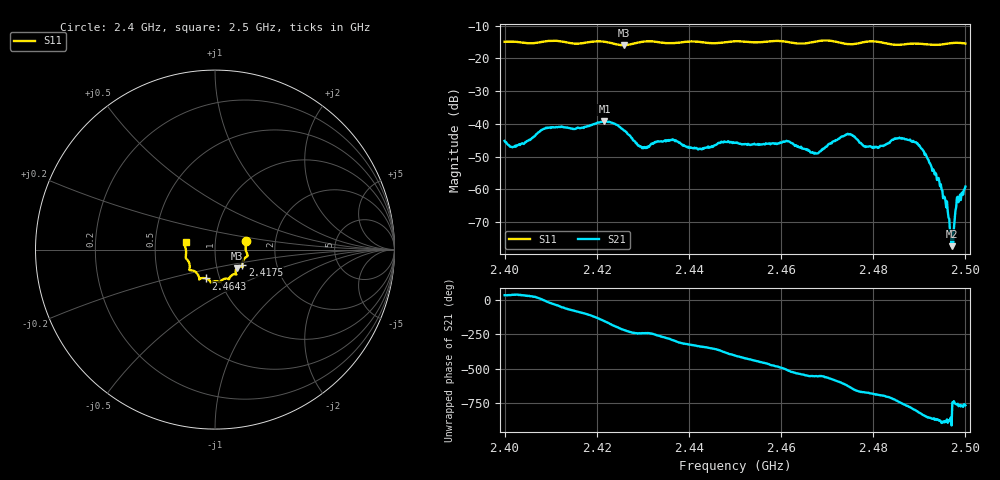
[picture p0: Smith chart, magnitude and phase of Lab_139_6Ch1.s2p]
# Hz S RI R
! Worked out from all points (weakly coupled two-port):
!   601 points, 2.4 GHz to 2.5 GHz, reference 50 ohm
!   highest |S21| = -39.29 dB at 2.4217 GHz (marker M1); lowest = -77.4 dB at 2.497 GHz (marker M2)
!   lowest |S11| = -16.0 dB at 2.4258 GHz (marker M3), VSWR 1.38, Z = 62.3 - j13.2 ohm
!   |S11| at or under -10 dB: start of sweep to end of sweep
!   S12 and S22 are empty: the file has one direction only
!   S11 on the Smith chart (normalised r, x): 2.4 GHz: 1.41, +0.14; 2.4175 GHz: 1.34, -0.23; 2.4643 GHz: 0.86, -0.29; 2.5 GHz: 0.72, +0.06
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2.4e9  0.173 0.0487  0.00464 0.00292  0 0  0 0
2.402e9  0.1756 0.0408  0.00366 0.00255  0 0  0 0
2.408833e9  0.1805 -0.0279  0.00844 -0.00135  0 0  0 0
2.416667e9  0.1532 -0.0743  -0.000831 -0.00868  0 0  0 0
2.4175e9  0.1522 -0.0839  -0.00177 -0.00886  0 0  0 0
2.421667e9  0.1523 -0.0961  -0.00994 -0.00437  0 0  0 0
2.425833e9  0.1214 -0.1032  -0.00626 0.00496  0 0  0 0
2.429667e9  0.117 -0.1349  -0.00194 0.00401  0 0  0 0
2.433333e9  0.1128 -0.1374  -0.000794 0.00536  0 0  0 0
2.442333e9  0.073 -0.1637  0.00386 0.00143  0 0  0 0
2.45e9  0.0289 -0.1809  0.00354 -0.00369  0 0  0 0
2.464333e9  -0.0498 -0.1608  -0.00447 0.000106  0 0  0 0
2.466667e9  -0.0759 -0.1594  -0.00353 0.000833  0 0  0 0
2.4745e9  -0.1018 -0.131  -0.000381 0.00702  0 0  0 0
2.478333e9  -0.1377 -0.1154  0.00303 0.00321  0 0  0 0
2.483333e9  -0.1408 -0.0899  0.00495 0.00123  0 0  0 0
2.486167e9  -0.1505 -0.0616  0.00521 -0.00311  0 0  0 0
2.4905e9  -0.1626 -0.0378  -0.00136 -0.00393  0 0  0 0
2.4945e9  -0.1626 0.00415  -0.00101 -0.000461  0 0  0 0
2.497e9  -0.1697 0.027  -0.000132 2.78e-05  0 0  0 0
2.498333e9  -0.1703 0.0339  0.00063 -0.000434  0 0  0 0
2.5e9  -0.1639 0.0423  0.000765 -0.000783  0 0  0 0
